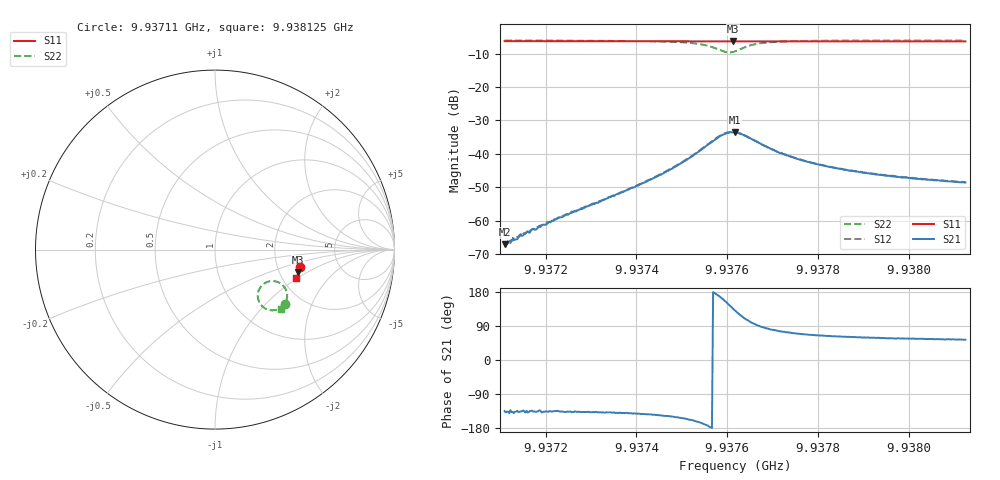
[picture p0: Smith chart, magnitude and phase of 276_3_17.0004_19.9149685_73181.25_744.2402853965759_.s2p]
#  HZ  S  RI  R  50.00
! Rohde & Schwarz Vector Network Analyzer
! Rohde-Schwarz,ZNB20-2Port,1311601062101988,3.16
! Created: UTC 3/20/2024, 11:04:24 PM
! freq[Hz]  re:S11  im:S11  re:S21  im:S21  re:S12  im:S12  re:S22  im:S22
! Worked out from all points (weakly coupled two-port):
!   401 points, 9.93711 GHz to 9.938125 GHz, reference 50 ohm
!   highest |S21| = -33.53 dB at 9.937617 GHz (marker M1); lowest = -67.1 dB at 9.93711 GHz (marker M2)
!   lowest |S11| = -6.4 dB at 9.937612 GHz (marker M3), VSWR 2.84, Z = 126 - j41.6 ohm
!   |S11| at or under -10 dB: nowhere
!   |S22| runs from -9.7 to -6.1 dB; largest |S21 - S12| = 0.00094
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9.9371097e9  0.475 -0.0947  -0.000311 -0.000313  -0.000316 -0.000282  0.392 -0.3041
9.9371249e9  0.4746 -0.0956  -0.000373 -0.000341  -0.000384 -0.000311  0.3912 -0.3051
9.9371351e9  0.4745 -0.0964  -0.000375 -0.000366  -0.00041 -0.000342  0.3902 -0.3058
9.9371554e9  0.4741 -0.0978  -0.000478 -0.00042  -0.000477 -0.000423  0.3888 -0.3074
9.9372239e9  0.4728 -0.1024  -0.00074 -0.000751  -0.000763 -0.00074  0.3829 -0.3127
9.9372798e9  0.4718 -0.1062  -0.00109 -0.00101  -0.00114 -0.00104  0.3773 -0.3173
9.9373763e9  0.4697 -0.1127  -0.00214 -0.00182  -0.00221 -0.00179  0.3636 -0.3268
9.9374499e9  0.468 -0.1178  -0.00393 -0.00268  -0.00403 -0.00267  0.3447 -0.3349
9.9375032e9  0.4665 -0.1213  -0.00674 -0.00333  -0.00693 -0.00326  0.3184 -0.3386
9.9375515e9  0.4648 -0.1246  -0.0125 -0.00212  -0.0128 -0.00185  0.272 -0.3232
9.9375718e9  0.464 -0.1256  -0.016 0.000768  -0.0164 0.00114  0.2475 -0.2948
9.9375896e9  0.4633 -0.1262  -0.0181 0.00595  -0.0183 0.00664  0.2383 -0.2497
9.9376023e9  0.4628 -0.1265  -0.0174 0.011  -0.0174 0.0118  0.2511 -0.2124
9.9376124e9  0.4626 -0.1267  -0.0151 0.0143  -0.0149 0.0152  0.2748 -0.1885
9.9376175e9  0.4629 -0.1267  -0.0137 0.016  -0.0132 0.0165  0.2895 -0.1809
9.9376454e9  0.4633 -0.1282  -0.00462 0.0171  -0.00418 0.0175  0.3617 -0.1864
9.9376759e9  0.4634 -0.1306  0.000598 0.0139  0.000917 0.0139  0.3944 -0.2225
9.9377216e9  0.4626 -0.1338  0.00267 0.00974  0.00275 0.00971  0.4021 -0.2604
9.9377876e9  0.4611 -0.1385  0.00294 0.00665  0.00308 0.00663  0.3967 -0.2874
9.9378689e9  0.4592 -0.1439  0.00268 0.0049  0.00284 0.00489  0.3887 -0.3048
9.9379577e9  0.457 -0.1499  0.00256 0.00394  0.00261 0.00392  0.3809 -0.3163
9.9381253e9  0.4525 -0.1607  0.00221 0.003  0.00227 0.00298  0.3688 -0.3309
